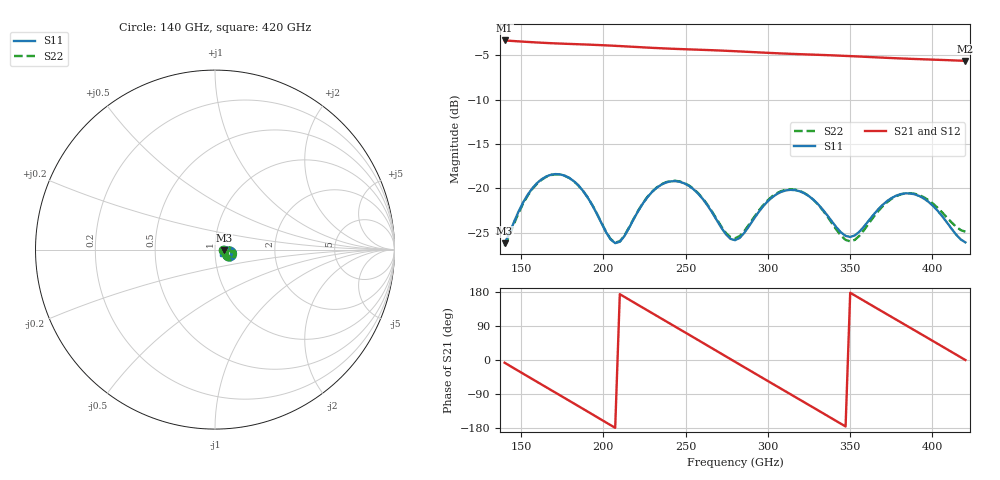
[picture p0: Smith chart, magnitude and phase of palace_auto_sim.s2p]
#  GHZ S DB R 50
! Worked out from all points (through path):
!   101 points, 140 GHz to 420 GHz, reference 50 ohm
!   highest |S21| = -3.35 dB at 140 GHz (marker M1); lowest = -5.6 dB at 420 GHz (marker M2)
!   group delay of S21, straight-line fit = 7.07 ps
!   lowest |S11| = -26.2 dB at 140 GHz (marker M3), VSWR 1.10, Z = 55.1 - j0.496 ohm
!   |S11| at or under -10 dB: start of sweep to end of sweep
!   |S22| runs from -26.5 to -18.4 dB; largest |S21 - S12| = 7.4e-14
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140  -26.20 -5.3  -3.35 -7.2  -3.35 -7.2  -26.51 -6.0
151.2  -21.60 8.2  -3.48 -35.9  -3.48 -35.9  -21.74 8.2
165.2  -18.67 -7.3  -3.63 -71.6  -3.63 -71.6  -18.72 -7.5
176.4  -18.56 -23.9  -3.72 -100.1  -3.72 -100.1  -18.58 -24.3
187.6  -20.27 -38.1  -3.79 -128.8  -3.79 -128.8  -20.27 -38.6
198.8  -23.88 -39.9  -3.88 -157.5  -3.88 -157.5  -23.86 -40.4
210  -26.01 -10.7  -3.98 173.8  -3.98 173.8  -25.95 -11.5
221.2  -22.54 5.6  -4.09 145.1  -4.09 145.1  -22.49 4.5
235.2  -19.59 -5.9  -4.23 109.5  -4.23 109.5  -19.55 -7.1
254.8  -20.10 -31.3  -4.37 59.7  -4.37 59.7  -20.05 -32.5
268.8  -23.54 -37.5  -4.47 24.0  -4.47 24.0  -23.43 -38.6
280  -25.83 -16.9  -4.56 -4.6  -4.56 -4.6  -25.63 -18.6
291.2  -23.51 1.2  -4.66 -33.2  -4.66 -33.2  -23.34 -1.3
305.2  -20.67 -5.8  -4.79 -68.7  -4.79 -68.7  -20.57 -8.6
316.4  -20.20 -18.6  -4.87 -97.1  -4.87 -97.1  -20.14 -21.6
327.6  -21.27 -30.0  -4.95 -125.5  -4.95 -125.5  -21.28 -33.5
350  -25.47 -16.0  -5.11 177.4  -5.11 177.4  -25.97 -18.4
361.2  -23.65 -0.8  -5.21 149.0  -5.21 149.0  -23.98 -0.8
375.2  -21.08 -6.5  -5.33 113.5  -5.33 113.5  -21.17 -5.9
394.8  -21.15 -27.4  -5.47 63.9  -5.47 63.9  -21.01 -26.0
408.8  -23.84 -34.0  -5.56 28.4  -5.56 28.4  -23.29 -31.6
420  -26.08 -20.1  -5.65 -0.0  -5.65 -0.0  -24.89 -20.2
